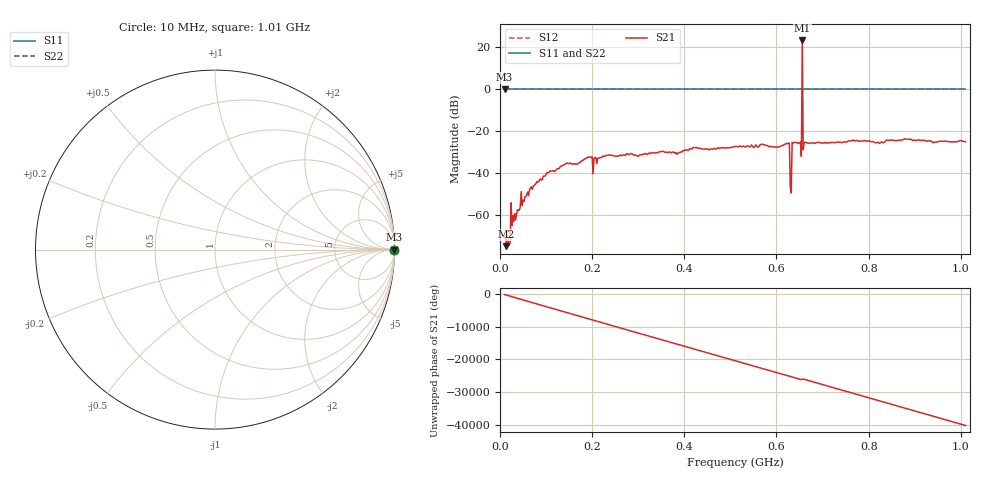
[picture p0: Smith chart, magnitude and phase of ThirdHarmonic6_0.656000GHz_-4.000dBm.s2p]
! 8/15/2025 9:46:28 PM
! C:\ANRITSUVNA\TEMP\TEMP.S2P
! CHANNEL.1
! TR.MEASUREMENT
! RAW.DATA
! RF.CORRECTION.OFF
! AVERAGING.OFF
! IF.BANDWIDTH: 5KHZ
! SWEEPTYPE:  FREQ.SWEEP(Linear)
! Reference Plane Port Info
! PORT:  PORT1  PORT2
! DISTANCE:  0  m  0  m
! TIME:  0  s  0  s
! PHASE.OFFSET:  0  deg.  0  deg.
! LOSS:  0  dB  0  dB
! REF.LOSS:  0  dB  0  dB
! REF.FREQ:  0  Hz  0  Hz
! Power Info
! POWER:  -20  dBm  -20  dBm
! EFF.POWER:  -20  dBm  -20  dBm
! SOURCE.ATTEN:  0  dB  0  dB
! TEST.ATTEN:  0  dB  0  dB
# GHZ S RI R 50.0
! FREQ.GHZ  S11RE  S11IM  S21RE  S21IM  S12RE  S12IM  S22RE  S22IM
!; PortSelection: Port_12
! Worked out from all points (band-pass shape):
!   501 points, 10 MHz to 1.01 GHz, reference 50 ohm
!   highest |S21| = 23.35 dB at 656 MHz (marker M1); lowest = -75.1 dB at 14 MHz (marker M2)
!   |S21| within 3 dB of the highest: 655.8918 MHz to 656.1147 MHz (222.8 kHz wide, 0.034 % of centre)
!   lowest |S11| = 0.0 dB at 10 MHz (marker M3)
!   |S11| at or under -10 dB: nowhere
!   |S22| runs from 0.0 to 0.0 dB; largest |S21 - S12| = 15
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0.01  1 0  -0.000271 -4.05e-05  1 0  1 0
0.014  1 0  0.000176 8e-07  1 0  1 0
0.018  1 0  -5.18e-05 -0.000204  1 0  1 0
0.028  1 0  -0.000946 -0.000117  1 0  1 0
0.03  1 0  0.000371 0.000582  1 0  1 0
0.068  1 0  0.00345 -0.00306  1 0  1 0
0.106  1 0  -0.00757 -0.00688  1 0  1 0
0.178  1 0  -0.0194 -0.004  1 0  1 0
0.344  1 0  0.03 -0.00867  1 0  1 0
0.51  1 0  -0.0378 0.0189  1 0  1 0
0.624  1 0  -0.0123 -0.0481  1 0  1 0
0.628  1 0  -0.00234 0.0515  1 0  1 0
0.634  1 0  -0.0461 -0.0273  1 0  1 0
0.638  1 0  0.0349 0.04  1 0  1 0
0.65  1 0  0.011 -0.0507  1 0  1 0
0.652  1 0  -0.0498 -0.0218  1 0  1 0
0.656  1 0  0.2479 -14.7  1 0  1 0
0.66  1 0  -0.0286 -0.0425  1 0  1 0
0.662  1 0  -0.0498 0.0191  1 0  1 0
0.678  1 0  -0.03 -0.0422  1 0  1 0
0.844  1 0  0.0498 0.0327  1 0  1 0
1.01  1 0  -0.0545 -0.000264  1 0  1 0
